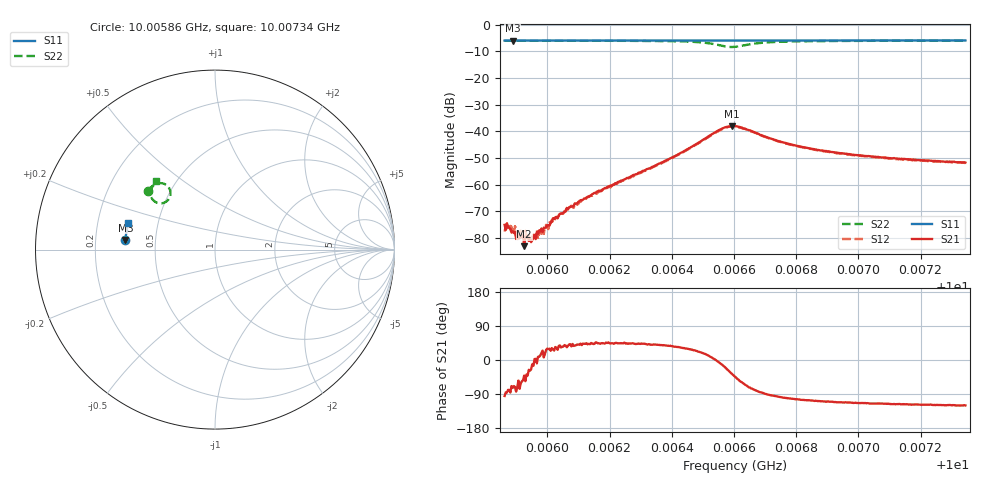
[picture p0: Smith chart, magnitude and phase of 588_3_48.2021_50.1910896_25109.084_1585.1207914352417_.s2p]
#  HZ  S  RI  R  50.00
! Rohde & Schwarz Vector Network Analyzer
! Rohde-Schwarz,ZNB20-2Port,1311601062101988,3.16
! Created: UTC 3/20/2024, 12:02:23 PM
! freq[Hz]  re:S11  im:S11  re:S21  im:S21  re:S12  im:S12  re:S22  im:S22
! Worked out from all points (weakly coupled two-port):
!   401 points, 10.00586 GHz to 10.00734 GHz, reference 50 ohm
!   highest |S21| = -38.09 dB at 10.00659 GHz (marker M1); lowest = -83.1 dB at 10.00593 GHz (marker M2)
!   lowest |S11| = -6.0 dB at 10.00589 GHz (marker M3), VSWR 3.02, Z = 16.6 + j2.39 ohm
!   |S11| at or under -10 dB: nowhere
!   |S22| runs from -8.4 to -6.0 dB; largest |S21 - S12| = 0.00093
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1.0005863e10  -0.4996 0.0523  -1.5e-05 -0.000175  3.51e-05 -0.000127  -0.3749 0.3278
1.0005874e10  -0.4994 0.0529  3.15e-05 -0.00016  1.5e-05 -0.000148  -0.3742 0.3284
1.0005889e10  -0.4991 0.0538  3.74e-05 -0.000128  3.69e-05 -0.000127  -0.3733 0.3294
1.0005892e10  -0.4994 0.0541  4.46e-05 -0.000115  1.9e-05 -0.000117  -0.3732 0.3296
1.0005911e10  -0.4991 0.0554  2.4e-05 -9.59e-05  4.94e-05 -9.31e-05  -0.3721 0.3307
1.0005926e10  -0.4991 0.0562  5.27e-05 -4.6e-05  8.18e-05 -5.16e-05  -0.3715 0.3316
1.0005955e10  -0.4989 0.0583  9.57e-05 -2.64e-05  0.000103 -4.94e-05  -0.3698 0.3335
1.0005977e10  -0.4988 0.0596  0.00013 2.8e-05  0.00012 2.58e-05  -0.3686 0.335
1.0006037e10  -0.4984 0.0637  0.000205 0.000155  0.000225 0.000145  -0.365 0.3389
1.000607e10  -0.4983 0.0659  0.000282 0.000246  0.000276 0.000238  -0.3629 0.3412
1.0006089e10  -0.4979 0.067  0.000351 0.000275  0.000319 0.000302  -0.3616 0.3425
1.0006111e10  -0.4979 0.0684  0.000398 0.000326  0.000332 0.000378  -0.36 0.3441
1.0006359e10  -0.4958 0.0846  0.00189 0.00159  0.00177 0.00161  -0.3324 0.3642
1.0006507e10  -0.4938 0.0943  0.007 0.00201  0.00671 0.00231  -0.2771 0.3634
1.0006563e10  -0.4928 0.0975  0.0109 -0.00253  0.0108 -0.00185  -0.2475 0.3151
1.0006592e10  -0.4925 0.0988  0.0101 -0.00726  0.0104 -0.00648  -0.2639 0.274
1.0006603e10  -0.4924 0.0991  0.00891 -0.00858  0.00923 -0.00782  -0.2778 0.2639
1.0006685e10  -0.4925 0.1043  0.00069 -0.00841  0.00115 -0.0085  -0.352 0.2858
1.000677e10  -0.4916 0.11  -0.00109 -0.00582  -0.000779 -0.00578  -0.3596 0.32
1.0006851e10  -0.4906 0.1154  -0.00137 -0.00446  -0.00119 -0.00447  -0.3556 0.3374
1.00071e10  -0.4873 0.1309  -0.00137 -0.00281  -0.00118 -0.00283  -0.3402 0.3639
1.0007344e10  -0.4834 0.1463  -0.00128 -0.00224  -0.00117 -0.00224  -0.3263 0.3795
